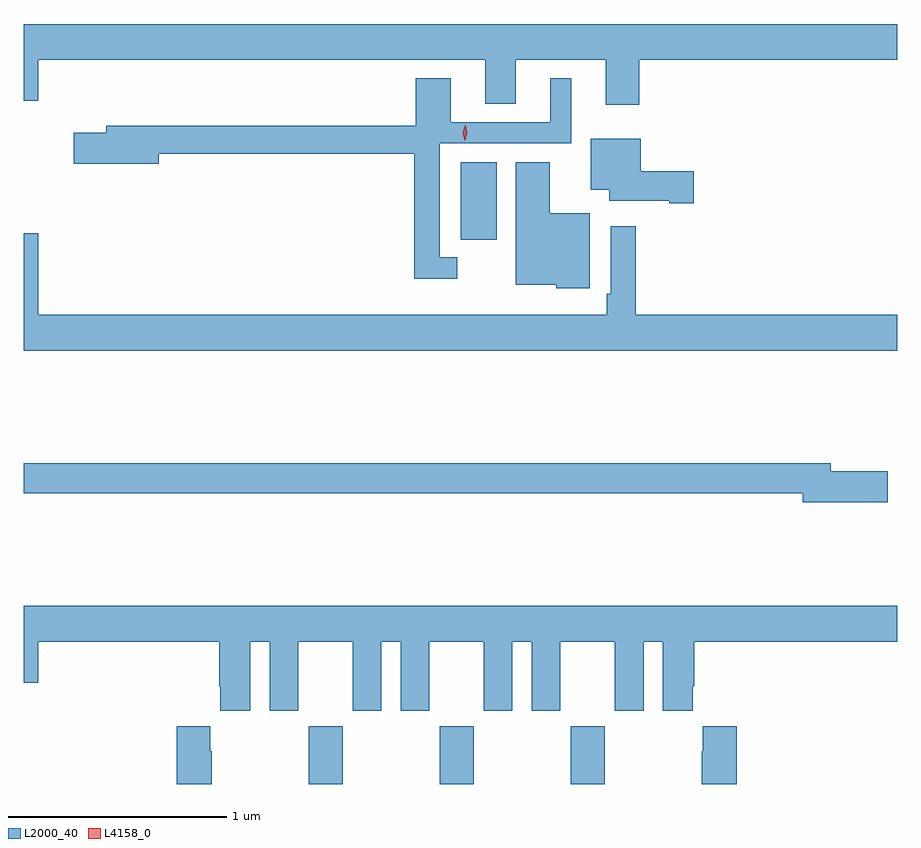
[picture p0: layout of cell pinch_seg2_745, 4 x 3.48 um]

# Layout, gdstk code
import gdstk
lib = gdstk.Library(unit=1e-6, precision=1e-09)
def R(c, l, rs):  # rectangles x0, y0, x1, y1
    for r in rs: c.add(gdstk.rectangle(r[:2], r[2:], *l))
def A(c, l, x, y, w, h, nx, ny, dx, dy):  # array of equal rectangles
    R(c, l, [(x+i*dx, y+j*dy, x+i*dx+w, y+j*dy+h) for i in range(nx) for j in range(ny)])
def P(c, l, *ps):  # polygons
    for p in ps: c.add(gdstk.Polygon(p, *l))
L2000_40 = (2000, 40)
L4158_0 = (4158, 0)

pinch_seg2_745 = lib.new_cell('pinch_seg2_745')
A(pinch_seg2_745, L2000_40, 861.715, 627.004, 0.155, 0.264, 3, 1, 0.6, 0)
R(pinch_seg2_745, L2000_40, [(862.412,629.496,862.576,629.852)])
P(pinch_seg2_745, L2000_40, [(863.228,630.32),(864.41,630.32),(864.41,630.484),(860.41,630.484),(860.41,630.132),(860.476,630.132),(860.476,630.32),(862.523,630.32),(862.523,630.118),(862.663,630.118),(862.663,630.32),(863.075,630.32),(863.075,630.114),(863.228,630.114)],
  [(862.396,629.415),(862.314,629.415),(862.314,629.937),(862.918,629.937),(862.918,630.235),(862.82,630.235),(862.82,630.033),(862.366,630.033),(862.366,630.235),(862.205,630.235),(862.205,630.019),(860.789,630.019),(860.789,629.985),(860.64,629.985),(860.64,629.843),(861.028,629.843),(861.028,629.89),(862.198,629.89),(862.198,629.318),(862.396,629.318)],
  [(863.479,629.81),(863.236,629.81),(863.236,629.959),(863.006,629.959),(863.006,629.726),(863.09,629.726),(863.09,629.675),(863.366,629.675),(863.366,629.663),(863.479,629.663)],
  [(863.002,629.617),(862.819,629.617),(862.819,629.852),(862.664,629.852),(862.664,629.291),(862.848,629.291),(862.848,629.273),(863.002,629.273)],
  [(864.41,629.152),(863.213,629.152),(863.213,629.557),(863.097,629.557),(863.097,629.248),(863.079,629.248),(863.079,629.152),(860.476,629.152),(860.476,629.527),(860.41,629.527),(860.41,628.988),(864.41,628.988)],
  [(864.367,628.436),(864.106,628.436),(864.106,628.472),(860.41,628.472),(860.41,628.336),(863.978,628.336),(863.978,628.294),(864.367,628.294)],
  [(861.448,627.656),(861.536,627.656),(861.536,627.339),(861.667,627.339),(861.667,627.656),(861.917,627.656),(861.917,627.339),(862.048,627.339),(862.048,627.656),(862.136,627.656),(862.136,627.339),(862.267,627.339),(862.267,627.656),(862.517,627.656),(862.517,627.339),(862.648,627.339),(862.648,627.656),(862.736,627.656),(862.736,627.339),(862.867,627.339),(862.867,627.656),(863.117,627.656),(863.117,627.339),(863.248,627.339),(863.248,627.656),(863.336,627.656),(863.336,627.339),(863.473,627.339),(863.473,627.451),(863.48,627.451),(863.48,627.656),(864.41,627.656),(864.41,627.82),(860.41,627.82),(860.41,627.468),(860.476,627.468),(860.476,627.656),(861.305,627.656),(861.305,627.451),(861.311,627.451),(861.311,627.339),(861.448,627.339)],
  [(863.675,627.268),(863.519,627.268),(863.519,627.155),(863.515,627.155),(863.515,627.004),(863.675,627.004)],
  [(861.27,627.155),(861.265,627.155),(861.265,627.268),(861.11,627.268),(861.11,627.004),(861.27,627.004)])
P(pinch_seg2_745, L4158_0, [(862.43,629.949),(862.43,629.949),(862.421,629.986),(862.431,630.021),(862.432,630.022),(862.432,630.021),(862.441,629.985),(862.43,629.949)])

lib.write_gds('pinch_seg2_745.gds')
